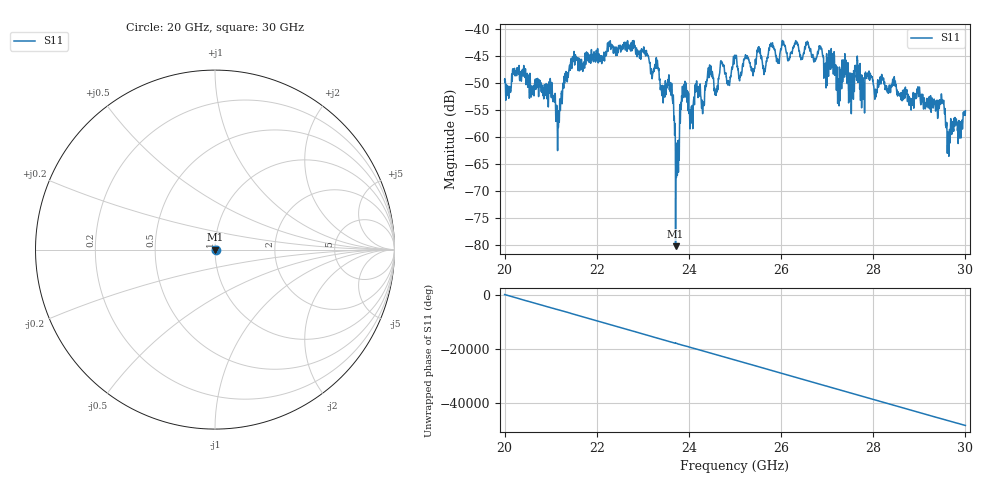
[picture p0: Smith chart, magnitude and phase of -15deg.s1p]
#  HZ  S  RI  R  50.00
! Rohde & Schwarz ZVA40 4Ports - Version 3.90 - 1145.1110k42 SN: 100403
! Date: 2023-10-03 12:33:48
! Measurement: S12
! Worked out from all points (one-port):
!   5001 points, 20 GHz to 30 GHz, reference 50 ohm
!   lowest |S11| = -80.2 dB at 23.71 GHz (marker M1), VSWR 1.00, Z = 50 + j0.00121 ohm
!   |S11| at or under -10 dB: start of sweep to end of sweep
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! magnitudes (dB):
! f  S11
! 20 GHz  -49.4
! 21 GHz  -50.5
! 21.16 GHz  -56.8
! 21.25 GHz  -53.6
! 21.52 GHz  -46.7
! 22.5 GHz  -43.5
! 23.58 GHz  -50.6
! 23.71 GHz  -80.2
! 23.75 GHz  -66.2
! 23.9 GHz  -51.3
! 24.05 GHz  -56.1
! 24.18 GHz  -51.4
! 24.31 GHz  -53.5
! 24.44 GHz  -47.8
! 24.59 GHz  -52.3
! 24.71 GHz  -46.1
! 24.86 GHz  -50.0
! 25 GHz  -45.0
! 25.11 GHz  -48.8
! 26.25 GHz  -43.7
! 26.86 GHz  -43.3
! 27.5 GHz  -53.4
! 27.65 GHz  -46.6
! 27.77 GHz  -51.4
! 28.75 GHz  -52.3
! 29.49 GHz  -53.3
! 29.65 GHz  -59.3
! 30 GHz  -55.1
